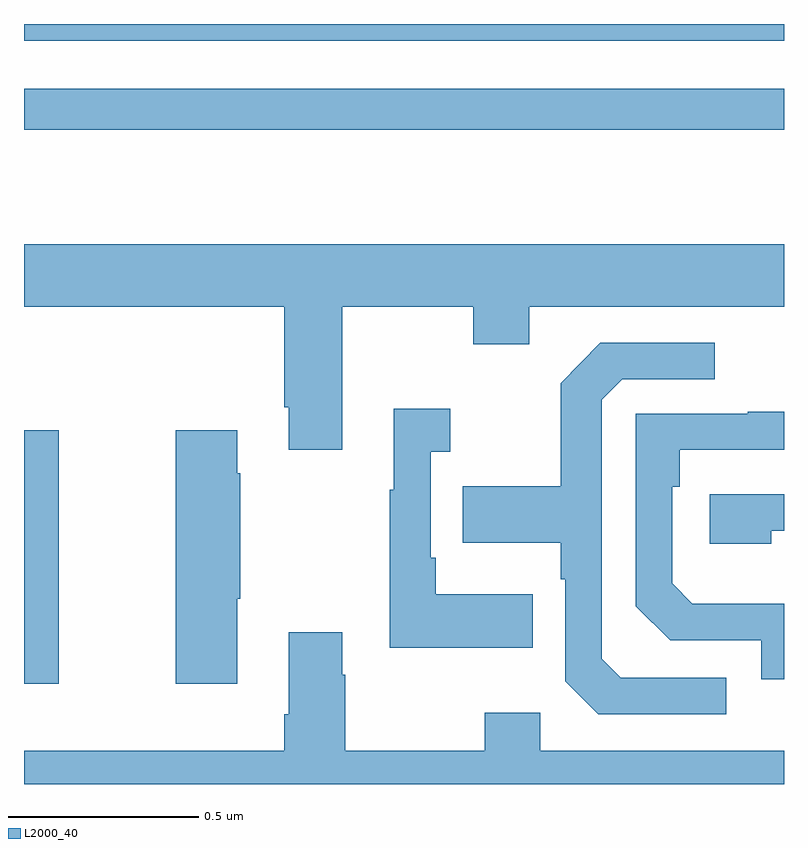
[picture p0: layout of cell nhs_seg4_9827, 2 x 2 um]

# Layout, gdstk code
import gdstk
lib = gdstk.Library(unit=1e-6, precision=1e-09)
def R(c, l, rs):  # rectangles x0, y0, x1, y1
    for r in rs: c.add(gdstk.rectangle(r[:2], r[2:], *l))
def P(c, l, *ps):  # polygons
    for p in ps: c.add(gdstk.Polygon(p, *l))
L2000_40 = (2000, 40)

nhs_seg4_9827 = lib.new_cell('nhs_seg4_9827')
R(nhs_seg4_9827, L2000_40, [(232,793.164,232.092,793.831), (232,794.622,234,794.73), (232,794.856,234,794.9)])
P(nhs_seg4_9827, L2000_40, [(232.837,794.156),(233.182,794.156),(233.182,794.057),(233.329,794.057),(233.329,794.156),(234,794.156),(234,794.32),(232,794.32),(232,794.156),(232.685,794.156),(232.685,793.891),(232.697,793.891),(232.697,793.779),(232.837,793.779)],
  [(233.848,793.179),(233.571,793.179),(233.52,793.23),(233.52,793.911),(233.574,793.965),(233.818,793.965),(233.818,794.061),(233.517,794.061),(233.412,793.955),(233.412,793.683),(233.155,793.683),(233.155,793.535),(233.412,793.535),(233.412,793.439),(233.424,793.439),(233.424,793.17),(233.511,793.083),(233.848,793.083)],
  [(233.339,793.399),(233.083,793.399),(233.083,793.495),(233.07,793.495),(233.07,793.775),(233.122,793.775),(233.122,793.888),(232.973,793.888),(232.973,793.675),(232.962,793.675),(232.962,793.259),(233.339,793.259)],
  [(234,793.375),(233.759,793.375),(233.706,793.428),(233.706,793.682),(233.726,793.682),(233.726,793.779),(234,793.779),(234,793.88),(233.905,793.88),(233.905,793.875),(233.61,793.875),(233.61,793.368),(233.7,793.278),(233.94,793.278),(233.94,793.176),(234,793.176)],
  [(232.561,793.387),(232.569,793.387),(232.569,793.718),(232.561,793.718),(232.561,793.831),(232.399,793.831),(232.399,793.164),(232.561,793.164)],
  [(233.966,793.566),(234,793.566),(234,793.662),(233.805,793.662),(233.805,793.532),(233.966,793.532)],
  [(233.212,793.087),(233.212,792.988),(232.845,792.988),(232.845,793.187),(232.837,793.187),(232.837,793.3),(232.697,793.3),(232.697,793.084),(232.685,793.084),(232.685,792.988),(232,792.988),(232,792.9),(234,792.9),(234,792.988),(233.358,792.988),(233.358,793.087)])

lib.write_gds('nhs_seg4_9827.gds')
